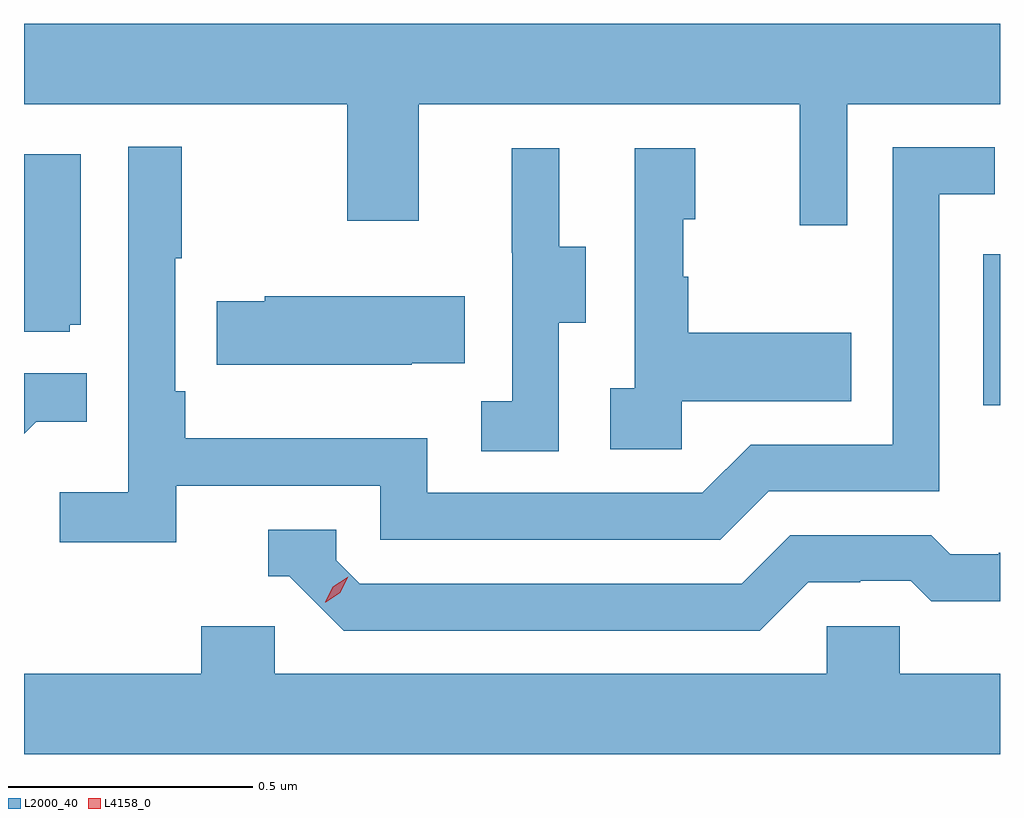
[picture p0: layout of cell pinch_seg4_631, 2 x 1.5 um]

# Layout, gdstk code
import gdstk
lib = gdstk.Library(unit=1e-6, precision=1e-09)
def R(c, l, rs):  # rectangles x0, y0, x1, y1
    for r in rs: c.add(gdstk.rectangle(r[:2], r[2:], *l))
def P(c, l, *ps):  # polygons
    for p in ps: c.add(gdstk.Polygon(p, *l))
L2000_40 = (2000, 40)
L4158_0 = (4158, 0)

pinch_seg4_631 = lib.new_cell('pinch_seg4_631')
R(pinch_seg4_631, L2000_40, [(1068.228,765.567,1068.262,765.876)])
P(pinch_seg4_631, L2000_40, [(1067.949,766.184),(1068.262,766.184),(1068.262,766.348),(1066.262,766.348),(1066.262,766.184),(1066.924,766.184),(1066.924,765.945),(1067.071,765.945),(1067.071,766.184),(1067.852,766.184),(1067.852,765.936),(1067.949,765.936)],
  [(1066.574,765.402),(1066.992,765.402),(1066.992,765.291),(1067.689,765.291),(1067.788,765.39),(1068.138,765.39),(1068.138,765.999),(1068.251,765.999),(1068.251,766.095),(1068.042,766.095),(1068.042,765.486),(1067.751,765.486),(1067.652,765.387),(1067.088,765.387),(1067.088,765.499),(1066.592,765.499),(1066.592,765.595),(1066.572,765.595),(1066.572,765.868),(1066.585,765.868),(1066.585,766.096),(1066.476,766.096),(1066.476,765.388),(1066.335,765.388),(1066.335,765.286),(1066.574,765.286)],
  [(1067.358,765.736),(1067.413,765.736),(1067.413,765.891),(1067.359,765.891),(1067.359,766.093),(1067.261,766.093),(1067.261,765.879),(1067.262,765.879),(1067.262,765.575),(1067.199,765.575),(1067.199,765.472),(1067.358,765.472)],
  [(1067.61,765.575),(1067.957,765.575),(1067.957,765.715),(1067.623,765.715),(1067.623,765.83),(1067.613,765.83),(1067.613,765.948),(1067.638,765.948),(1067.638,766.093),(1067.514,766.093),(1067.514,765.602),(1067.463,765.602),(1067.463,765.477),(1067.61,765.477)],
  [(1066.356,765.732),(1066.378,765.732),(1066.378,766.081),(1066.262,766.081),(1066.262,765.717),(1066.356,765.717)],
  [(1067.057,765.653),(1067.165,765.653),(1067.165,765.79),(1066.755,765.79),(1066.755,765.78),(1066.657,765.78),(1066.657,765.65),(1067.057,765.65)],
  [(1066.287,765.533),(1066.391,765.533),(1066.391,765.632),(1066.262,765.632),(1066.262,765.508)],
  [(1067.869,765.204),(1067.976,765.204),(1067.976,765.207),(1068.079,765.207),(1068.121,765.165),(1068.262,765.165),(1068.262,765.264),(1068.259,765.264),(1068.259,765.261),(1068.16,765.261),(1068.121,765.3),(1067.832,765.3),(1067.733,765.201),(1066.95,765.201),(1066.902,765.249),(1066.902,765.312),(1066.763,765.312),(1066.763,765.216),(1066.806,765.216),(1066.917,765.105),(1067.77,765.105)],
  [(1068.262,765.016),(1068.057,765.016),(1068.057,765.114),(1067.907,765.114),(1067.907,765.016),(1066.776,765.016),(1066.776,765.114),(1066.625,765.114),(1066.625,765.016),(1066.262,765.016),(1066.262,764.852),(1068.262,764.852)])
P(pinch_seg4_631, L4158_0, [(1066.879,765.163),(1066.879,765.163),(1066.895,765.195),(1066.926,765.215),(1066.926,765.215),(1066.926,765.215),(1066.91,765.182),(1066.88,765.163)])

lib.write_gds('pinch_seg4_631.gds')
